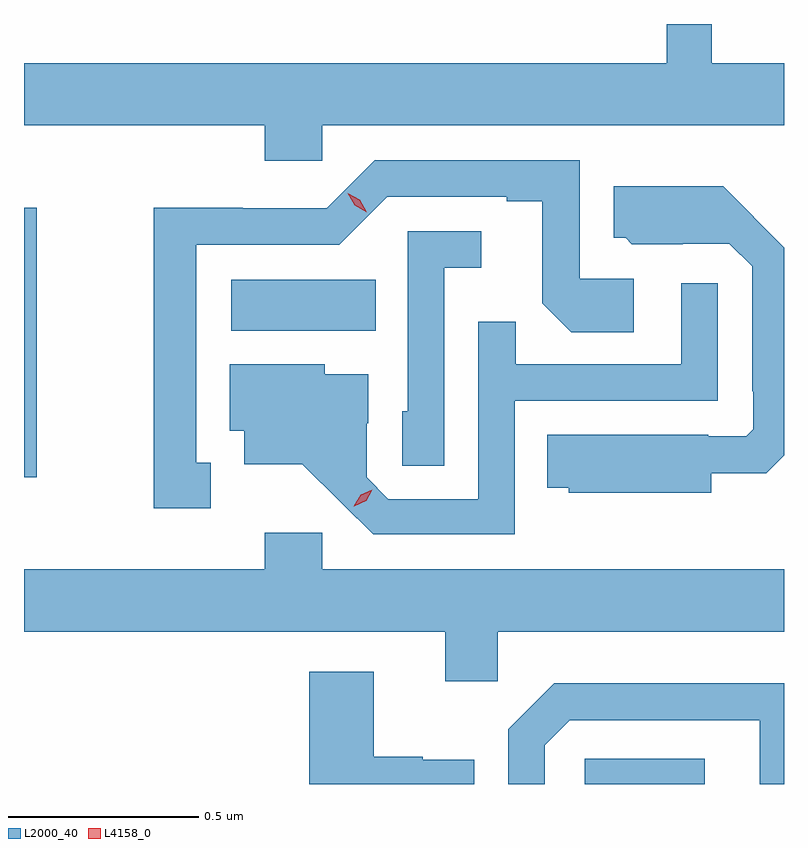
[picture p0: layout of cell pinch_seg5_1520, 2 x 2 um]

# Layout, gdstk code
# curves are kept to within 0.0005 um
import gdstk
lib = gdstk.Library(unit=1e-6, precision=1e-09)
def R(c, l, rs):  # rectangles x0, y0, x1, y1
    for r in rs: c.add(gdstk.rectangle(r[:2], r[2:], *l))
def P(c, l, *ps):  # polygons
    for p in ps: c.add(gdstk.Polygon(p, *l))
L2000_40 = (2000, 40)
L4158_0 = (4158, 0)

pinch_seg5_1520 = lib.new_cell('pinch_seg5_1520')
R(pinch_seg5_1520, L2000_40, [(155.178,879.003,155.494,879.069), (153.703,879.81,153.736,880.52), (154.248,880.196,154.628,880.33)])
P(pinch_seg5_1520, L2000_40, [(154.488,880.736),(155.703,880.736),(155.703,880.9),(155.513,880.9),(155.513,881.003),(155.395,881.003),(155.395,880.9),(153.703,880.9),(153.703,880.736),(154.337,880.736),(154.337,880.643),(154.488,880.643)],
  [(154.195,879.849),(154.156,879.849),(154.156,880.422),(154.533,880.422),(154.659,880.548),(154.973,880.548),(154.973,880.536),(155.067,880.536),(155.067,880.268),(155.143,880.192),(155.308,880.192),(155.308,880.332),(155.166,880.332),(155.166,880.644),(154.626,880.644),(154.5,880.518),(154.278,880.518),(154.278,880.52),(154.045,880.52),(154.045,879.729),(154.195,879.729)],
  [(155.512,879.821),(155.656,879.821),(155.703,879.868),(155.703,880.414),(155.543,880.576),(155.255,880.576),(155.255,880.44),(155.286,880.44),(155.302,880.424),(155.436,880.424),(155.436,880.425),(155.559,880.425),(155.619,880.365),(155.619,880.036),(155.622,880.036),(155.622,879.936),(155.604,879.918),(155.504,879.918),(155.504,879.922),(155.08,879.922),(155.08,879.782),(155.136,879.782),(155.136,879.77),(155.512,879.77)],
  [(154.809,880.361),(154.906,880.361),(154.906,880.458),(154.713,880.458),(154.713,879.984),(154.698,879.984),(154.698,879.841),(154.809,879.841)],
  [(154.995,880.011),(155.529,880.011),(155.529,880.321),(155.433,880.321),(155.433,880.107),(154.997,880.107),(154.997,880.22),(154.899,880.22),(154.899,879.753),(154.662,879.753),(154.605,879.81),(154.605,879.952),(154.609,879.952),(154.609,880.081),(154.494,880.081),(154.494,880.108),(154.244,880.108),(154.244,879.932),(154.283,879.932),(154.283,879.845),(154.435,879.845),(154.622,879.66),(154.995,879.66)],
  [(154.95,879.404),(155.703,879.404),(155.703,879.568),(154.488,879.568),(154.488,879.664),(154.337,879.664),(154.337,879.568),(153.703,879.568),(153.703,879.404),(154.811,879.404),(154.811,879.273),(154.95,879.273)],
  [(154.888,879.067),(154.752,879.067),(154.752,879.075),(154.624,879.075),(154.624,879.298),(154.454,879.298),(154.454,879.003),(154.888,879.003)],
  [(155.073,879.105),(155.139,879.171),(155.639,879.171),(155.639,879.003),(155.703,879.003),(155.703,879.268),(155.098,879.268),(154.977,879.147),(154.977,879.003),(155.073,879.003)])
P(pinch_seg5_1520, L4158_0, [(154.605,880.508),(154.573,880.526),(154.555,880.558),(154.555,880.558),(154.555,880.558),(154.587,880.54),(154.605,880.508),(154.605,880.508)],
  [(154.571,879.734),(154.571,879.734),(154.589,879.764),(154.62,879.778),(154.62,879.778),(154.62,879.778),(154.603,879.749),(154.572,879.734)])

lib.write_gds('pinch_seg5_1520.gds')
